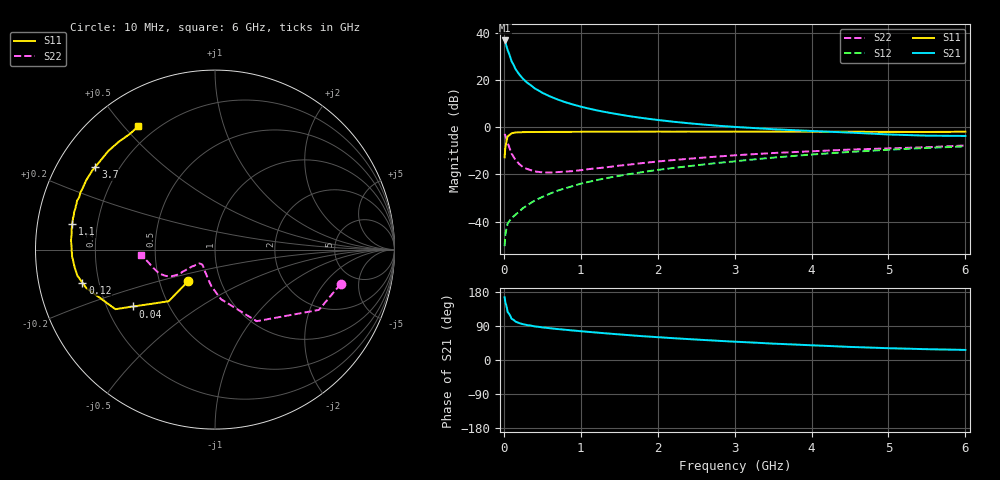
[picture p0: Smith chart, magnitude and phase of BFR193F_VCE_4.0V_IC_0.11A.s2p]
! Infineon Technologies  Discrete & RF Semiconductors
! BFR193F
! VCE =  4.0 V,  IC = 0.11 A
! Common Emitter S-Parameters:  Jan 2017
# GHz  S  MA  R  50
!  f  S11  S21  S12  S22
! GHz  MAG  ANG  MAG  ANG  MAG  ANG  MAG  ANG
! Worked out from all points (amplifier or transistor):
!   77 points, 10 MHz to 6 GHz, reference 50 ohm
!   highest |S21| = 36.9 dB at 10 MHz (marker M1)
!   |S21| within 3 dB of that: start of sweep to 39.26 MHz
!   unconditionally stable (mu >= 1): start of sweep to 10.29 MHz; 285.1 MHz to 3.01 GHz
!   at 130 MHz: K = 0.75, MSG = 32.0 dB, |S12| = -37.7 dB
!   at 2.2 GHz: K = 1.08, MAG = 8.1 dB, |S12| = -17.2 dB
!   at 6 GHz: K = 0.92, MSG = 2.2 dB, |S12| = -8.1 dB
!   S11 on the Smith chart (normalised r, x): 10 MHz: 0.70, -0.26; 40 MHz: 0.31, -0.29; 120 MHz: 0.14, -0.12; 1.1 GHz: 0.11, +0.09; 3.7 GHz: 0.11, +0.31; 6 GHz: 0.14, +0.55
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0.01  0.2317 -130.4  70.36 165.4  0.003 77.1  0.7257 -15.3
0.02  0.3864 -131.9  64.32 151.8  0.0053 65.1  0.6695 -30.1
0.04  0.5553 -145.2  49.32 137.1  0.0078 57.5  0.5136 -47.4
0.05  0.6464 -149.1  43.64 126.3  0.0091 55.3  0.4616 -59.8
0.1  0.7498 -163.6  25.52 108.9  0.0117 50.5  0.2783 -83.1
0.12  0.7613 -166.0  22.32 106.6  0.0126 52.4  0.2474 -87.3
0.15  0.7808 -169.4  17.62 101.7  0.0139 54.8  0.2043 -95.8
0.2  0.7885 -172.9  13.37 97.3  0.0163 57.8  0.1671 -103.6
0.25  0.7927 -175.5  10.74 94.4  0.0194 62.3  0.1431 -110.6
0.3  0.7969 -177.1  9.002 92.3  0.0218 66.5  0.1316 -115.8
0.4  0.7986 -180.0  6.772 88.7  0.0278 70.2  0.1163 -123.8
0.5  0.8002 178.2  5.439 86.1  0.0333 72.5  0.111 -128.6
0.7  0.8036 174.7  3.914 81.6  0.0454 75.4  0.1125 -134.9
0.9  0.8067 172.1  3.063 77.8  0.0569 76.8  0.1182 -138.7
1.1  0.8081 169.8  2.522 74.2  0.0695 77.6  0.1299 -140.5
1.6  0.8116 164.4  1.768 66.0  0.0999 78.0  0.1601 -143.8
2.1  0.8132 159.7  1.381 59.0  0.131 77.3  0.1956 -145.0
3.1  0.8142 150.9  1.003 47.4  0.1976 74.7  0.2612 -146.9
3.7  0.8106 145.3  0.884 41.5  0.2427 71.9  0.2957 -149.9
4.1  0.8079 141.2  0.827 38.0  0.2723 69.5  0.3163 -152.9
5.1  0.8036 130.7  0.7 30.6  0.3411 62.5  0.3626 -164.9
6  0.8106 121.8  0.658 26.6  0.3951 56.1  0.4128 -176.2
